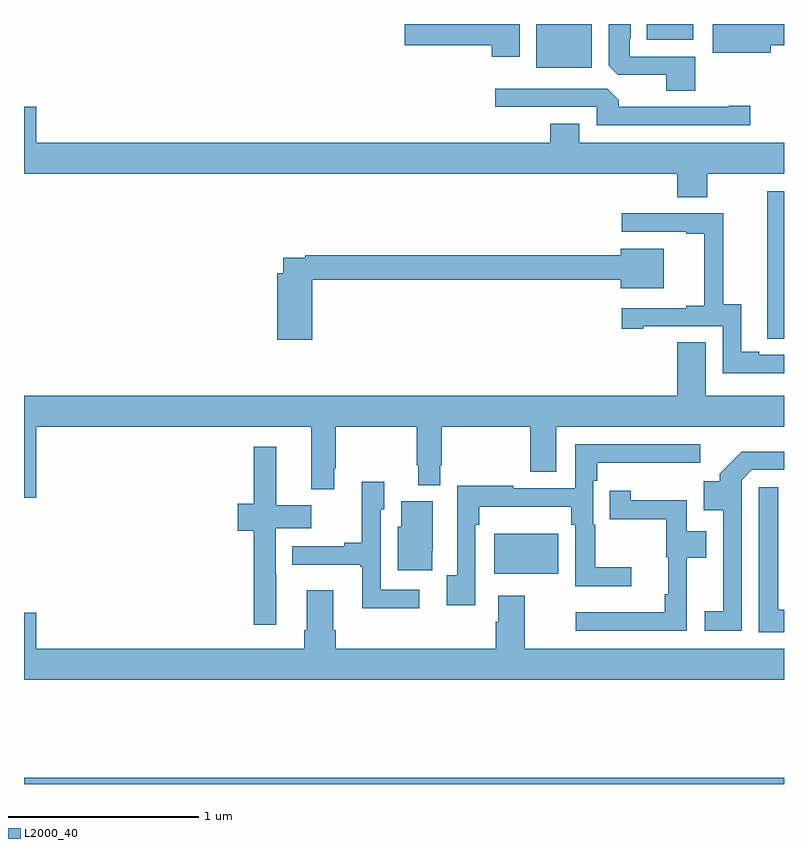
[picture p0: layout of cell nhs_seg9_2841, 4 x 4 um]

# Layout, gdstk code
import gdstk
lib = gdstk.Library(unit=1e-6, precision=1e-09)
def R(c, l, rs):  # rectangles x0, y0, x1, y1
    for r in rs: c.add(gdstk.rectangle(r[:2], r[2:], *l))
def P(c, l, *ps):  # polygons
    for p in ps: c.add(gdstk.Polygon(p, *l))
L2000_40 = (2000, 40)

nhs_seg9_2841 = lib.new_cell('nhs_seg9_2841')
R(nhs_seg9_2841, L2000_40, [(273,1234.5,277,1234.532), (275.474,1235.606,275.812,1235.818), (275.696,1238.27,275.989,1238.5), (276.278,1238.417,276.523,1238.5)])
P(nhs_seg9_2841, L2000_40, [(275.608,1238.5),(275.004,1238.5),(275.004,1238.387),(275.462,1238.387),(275.462,1238.328),(275.608,1238.328)],
  [(276.931,1238.387),(277,1238.387),(277,1238.5),(276.624,1238.5),(276.624,1238.348),(276.931,1238.348)],
  [(276.533,1238.328),(276.189,1238.328),(276.189,1238.425),(276.193,1238.425),(276.193,1238.5),(276.077,1238.5),(276.077,1238.281),(276.126,1238.232),(276.38,1238.232),(276.38,1238.149),(276.533,1238.149)],
  [(276.823,1238.069),(276.71,1238.069),(276.71,1238.064),(276.131,1238.064),(276.131,1238.098),(276.069,1238.16),(275.481,1238.16),(275.481,1238.064),(276.015,1238.064),(276.015,1237.968),(276.823,1237.968)],
  [(276.597,1237.712),(277,1237.712),(277,1237.876),(275.923,1237.876),(275.923,1237.975),(275.771,1237.975),(275.771,1237.876),(273.064,1237.876),(273.064,1238.065),(273,1238.065),(273,1237.712),(276.437,1237.712),(276.437,1237.588),(276.597,1237.588)],
  [(277,1237.62),(276.911,1237.62),(276.911,1236.952),(276.912,1236.952),(276.912,1236.844),(277,1236.844)],
  [(277,1236.759),(276.871,1236.759),(276.871,1236.774),(276.775,1236.774),(276.775,1237.025),(276.681,1237.025),(276.681,1237.503),(276.147,1237.503),(276.147,1237.407),(276.485,1237.407),(276.485,1237.395),(276.581,1237.395),(276.581,1237.018),(276.485,1237.018),(276.485,1237.005),(276.147,1237.005),(276.147,1236.897),(276.259,1236.897),(276.259,1236.909),(276.678,1236.909),(276.678,1236.663),(277,1236.663)],
  [(274.517,1237.153),(276.14,1237.153),(276.14,1237.109),(276.367,1237.109),(276.367,1237.318),(276.14,1237.318),(276.14,1237.282),(274.48,1237.282),(274.48,1237.269),(274.364,1237.269),(274.364,1237.189),(274.334,1237.189),(274.334,1236.837),(274.517,1236.837)],
  [(273.064,1236.38),(274.511,1236.38),(274.511,1236.051),(274.633,1236.051),(274.633,1236.163),(274.641,1236.163),(274.641,1236.38),(275.068,1236.38),(275.068,1236.178),(275.075,1236.178),(275.075,1236.073),(275.191,1236.073),(275.191,1236.178),(275.199,1236.178),(275.199,1236.38),(275.665,1236.38),(275.665,1236.144),(275.8,1236.144),(275.8,1236.38),(277,1236.38),(277,1236.544),(276.589,1236.544),(276.589,1236.824),(276.437,1236.824),(276.437,1236.544),(273,1236.544),(273,1236.006),(273.064,1236.006)],
  [(275.376,1235.864),(275.396,1235.864),(275.396,1235.96),(275.881,1235.96),(275.881,1235.864),(275.901,1235.864),(275.901,1235.54),(276.196,1235.54),(276.196,1235.64),(276.007,1235.64),(276.007,1235.864),(275.997,1235.864),(275.997,1236.095),(276.017,1236.095),(276.017,1236.191),(276.559,1236.191),(276.559,1236.288),(275.901,1236.288),(275.901,1236.057),(275.576,1236.057),(275.576,1236.07),(275.28,1236.07),(275.28,1235.599),(275.225,1235.599),(275.225,1235.442),(275.376,1235.442)],
  [(274.327,1235.603),(274.326,1235.603),(274.326,1235.846),(274.511,1235.846),(274.511,1235.968),(274.328,1235.968),(274.328,1236.274),(274.21,1236.274),(274.21,1235.976),(274.124,1235.976),(274.124,1235.834),(274.21,1235.834),(274.21,1235.337),(274.327,1235.337)],
  [(276.777,1236.099),(276.831,1236.153),(277,1236.153),(277,1236.25),(276.778,1236.25),(276.661,1236.133),(276.661,1236.094),(276.578,1236.094),(276.578,1235.942),(276.681,1235.942),(276.681,1235.408),(276.582,1235.408),(276.582,1235.307),(276.777,1235.307)],
  [(275.08,1235.523),(274.878,1235.523),(274.878,1235.946),(274.897,1235.946),(274.897,1236.091),(274.777,1236.091),(274.777,1235.771),(274.685,1235.771),(274.685,1235.751),(274.411,1235.751),(274.411,1235.654),(274.77,1235.654),(274.77,1235.643),(274.781,1235.643),(274.781,1235.426),(275.08,1235.426)],
  [(277,1235.418),(276.97,1235.418),(276.97,1236.063),(276.866,1236.063),(276.866,1235.298),(277,1235.298)],
  [(276.489,1235.69),(276.592,1235.69),(276.592,1235.83),(276.489,1235.83),(276.489,1235.993),(276.193,1235.993),(276.193,1236.043),(276.082,1236.043),(276.082,1235.894),(276.381,1235.894),(276.381,1235.694),(276.392,1235.694),(276.392,1235.5),(276.373,1235.5),(276.373,1235.404),(275.904,1235.404),(275.904,1235.307),(276.489,1235.307)],
  [(275.148,1235.728),(275.152,1235.728),(275.152,1235.988),(274.985,1235.988),(274.985,1235.853),(274.967,1235.853),(274.967,1235.626),(275.148,1235.626)],
  [(277,1235.212),(275.635,1235.212),(275.635,1235.491),(275.495,1235.491),(275.495,1235.354),(275.483,1235.354),(275.483,1235.212),(274.64,1235.212),(274.64,1235.308),(274.627,1235.308),(274.627,1235.521),(274.487,1235.521),(274.487,1235.308),(274.475,1235.308),(274.475,1235.212),(273.064,1235.212),(273.064,1235.401),(273,1235.401),(273,1235.048),(277,1235.048)])

lib.write_gds('nhs_seg9_2841.gds')
